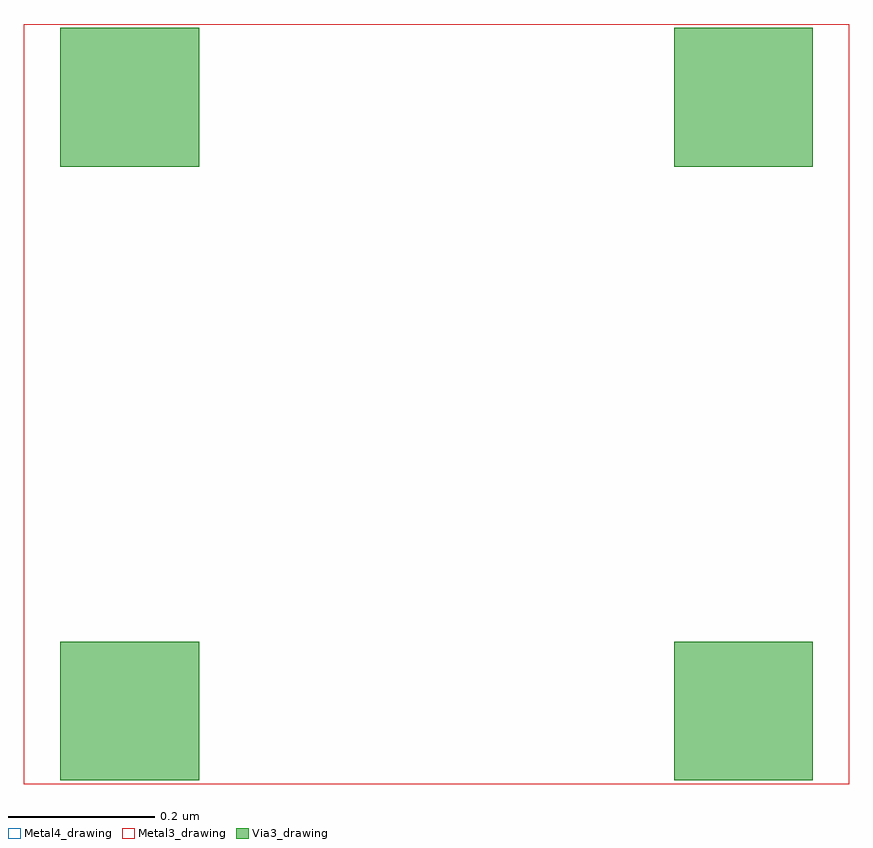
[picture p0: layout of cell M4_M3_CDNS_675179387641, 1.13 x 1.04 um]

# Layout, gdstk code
import gdstk
lib = gdstk.Library(unit=1e-6, precision=1e-09)
def R(c, l, rs):  # rectangles x0, y0, x1, y1
    for r in rs: c.add(gdstk.rectangle(r[:2], r[2:], *l))
Metal3_drawing = (30, 0)
Via3_drawing = (49, 0)
Metal4_drawing = (50, 0)

m4_m3_cdns_675179387641 = lib.new_cell('M4_M3_CDNS_675179387641')
R(m4_m3_cdns_675179387641, Metal3_drawing, [(-0.565,-0.52,0.565,0.52)])
R(m4_m3_cdns_675179387641, Via3_drawing, [(-0.515,-0.515,-0.325,-0.325), (0.325,-0.515,0.515,-0.325), (-0.515,0.325,-0.325,0.515), (0.325,0.325,0.515,0.515)])
R(m4_m3_cdns_675179387641, Metal4_drawing, [(-0.565,-0.52,0.565,0.52)])

lib.write_gds('M4_M3_CDNS_675179387641.gds')
